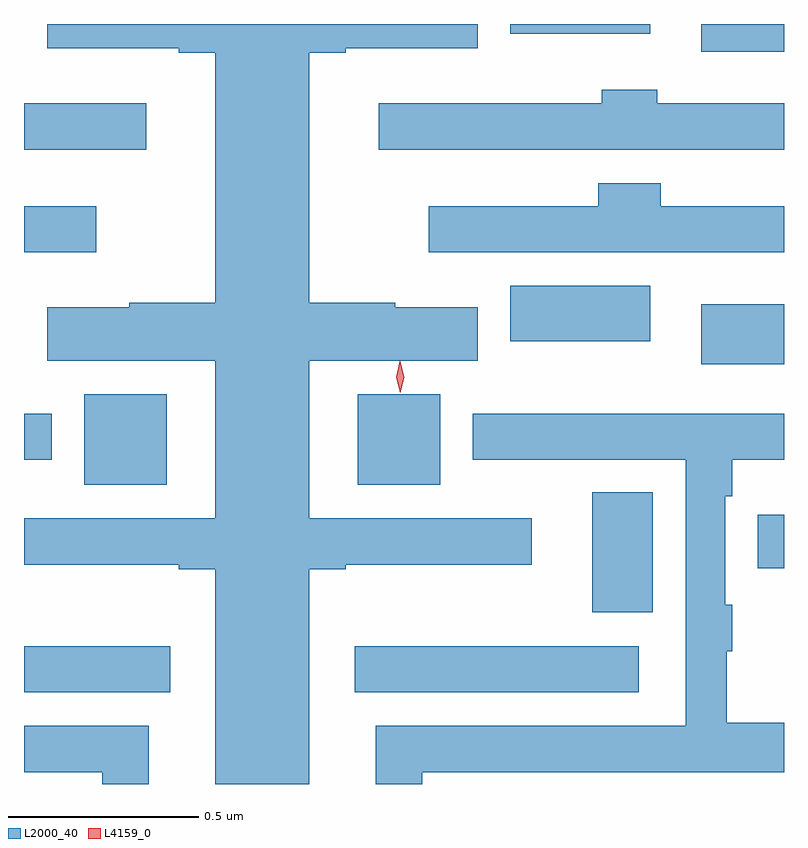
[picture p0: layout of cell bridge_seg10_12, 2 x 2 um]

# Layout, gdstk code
import gdstk
lib = gdstk.Library(unit=1e-6, precision=1e-09)
def R(c, l, rs):  # rectangles x0, y0, x1, y1
    for r in rs: c.add(gdstk.rectangle(r[:2], r[2:], *l))
def P(c, l, *ps):  # polygons
    for p in ps: c.add(gdstk.Polygon(p, *l))
L2000_40 = (2000, 40)
L4159_0 = (4159, 0)

bridge_seg10_12 = lib.new_cell('bridge_seg10_12')
R(bridge_seg10_12, L2000_40, [(1055.973,1275.59,1056.358,1275.712), (1056.843,1275.59,1057.591,1275.712), (1057.469,1275.801,1057.627,1276.117), (1057.904,1275.917,1057.973,1276.057), (1056.131,1276.136,1056.349,1276.375), (1056.851,1276.136,1057.069,1276.375), (1055.973,1276.202,1056.046,1276.324), (1057.755,1276.454,1057.973,1276.612), (1057.252,1276.514,1057.621,1276.66), (1055.973,1276.748,1056.163,1276.87), (1055.973,1277.018,1056.295,1277.14), (1057.755,1277.276,1057.973,1277.349), (1057.252,1277.324,1057.621,1277.349)])
P(bridge_seg10_12, L2000_40, [(1056.724,1275.914),(1056.82,1275.914),(1056.82,1275.926),(1057.309,1275.926),(1057.309,1276.048),(1056.724,1276.048),(1056.724,1276.463),(1057.167,1276.463),(1057.167,1276.603),(1056.95,1276.603),(1056.95,1276.616),(1056.724,1276.616),(1056.724,1277.273),(1056.82,1277.273),(1056.82,1277.285),(1057.167,1277.285),(1057.167,1277.349),(1056.034,1277.349),(1056.034,1277.285),(1056.38,1277.285),(1056.38,1277.273),(1056.476,1277.273),(1056.476,1276.616),(1056.25,1276.616),(1056.25,1276.603),(1056.034,1276.603),(1056.034,1276.463),(1056.476,1276.463),(1056.476,1276.048),(1055.973,1276.048),(1055.973,1275.926),(1056.38,1275.926),(1056.38,1275.914),(1056.476,1275.914),(1056.476,1275.349),(1056.724,1275.349)],
  [(1057.973,1277.14),(1057.64,1277.14),(1057.64,1277.176),(1057.493,1277.176),(1057.493,1277.14),(1056.906,1277.14),(1056.906,1277.018),(1057.973,1277.018)],
  [(1057.973,1276.87),(1057.649,1276.87),(1057.649,1276.93),(1057.484,1276.93),(1057.484,1276.87),(1057.038,1276.87),(1057.038,1276.748),(1057.973,1276.748)],
  [(1057.021,1275.38),(1057.973,1275.38),(1057.973,1275.51),(1057.822,1275.51),(1057.822,1275.698),(1057.837,1275.698),(1057.837,1275.821),(1057.819,1275.821),(1057.819,1276.106),(1057.837,1276.106),(1057.837,1276.202),(1057.973,1276.202),(1057.973,1276.324),(1057.154,1276.324),(1057.154,1276.202),(1057.715,1276.202),(1057.715,1275.502),(1056.899,1275.502),(1056.899,1275.349),(1057.021,1275.349)],
  [(1056.301,1275.502),(1055.973,1275.502),(1055.973,1275.38),(1056.179,1275.38),(1056.179,1275.349),(1056.301,1275.349)])
P(bridge_seg10_12, L4159_0, [(1056.963,1276.378),(1056.963,1276.378),(1056.953,1276.419),(1056.962,1276.461),(1056.962,1276.461),(1056.963,1276.461),(1056.973,1276.419),(1056.963,1276.378)])

lib.write_gds('bridge_seg10_12.gds')
